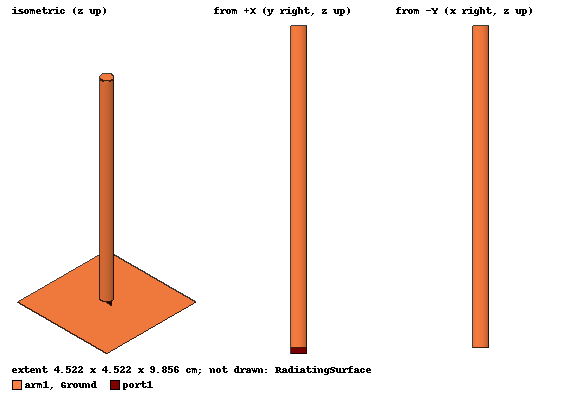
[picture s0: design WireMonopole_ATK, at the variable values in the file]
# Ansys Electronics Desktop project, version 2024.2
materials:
  vacuum: permittivity=1
  pec: conductivity=1e+30

design WireMonopole_ATK (HFSS, HFSS Hybrid Terminal Network, model units cm)
options: Allow_Material_Override Save_Adaptive_support_files open_region{BoundaryType=0 OpFreq=0.915GHz}
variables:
  # --Antenna Dimensions
  monopole_length = 9.8557888cm
  wire_rad = 0.251038368cm
  port_gap = 0.17739cm
  ground_width = 4.5216cm
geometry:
  arm1 [pec] = cylinder(axis=Z, base_centre=(0cm, 0cm, port_gap), radius=wire_rad, height=monopole_length-port_gap)
  Ground = rectangle(corner=(-ground_width/2, -ground_width/2, 0cm), x_size=ground_width, y_size=ground_width)
  port1 = rectangle(corner=(0cm, -wire_rad, 0cm), y_size=wire_rad*2, z_size=port_gap)
  RadiatingSurface [vacuum] = region(absolute_offset=10.928962cm on all sides)
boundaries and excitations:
  groundMetal: Perfect E Objects=Ground
  AutoOpen1: Radiation Objects=RadiatingSurface
  port1_T1: Terminal port=1 Edges=port1.edge(at (0, 0, 0.17739)) TerminalResistance=50ohm
  1: Lumped Port Faces=port1.face LumpedPortType=Terminal Impedance=50ohm
  reference conductors: Ground
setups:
  ATK_Solution: HfssDriven Frequency=0.915GHz MaxDeltaS=0.02 MaximumPasses=15 MinimumPasses=1 MinimumConvergedPasses=1 PercentRefinement=30 BasisOrder=1 PortAccuracy=2 DrivenSolverType="Direct Solver" VariablesForDerivatives(ground_width, monopole_length, port_gap, wire_rad) VariableFlagsForDerivatives(1, 1, 1, 1) IESolverType=ACA
    sweep FF_Sweep: 0.4575GHz to 1.3725GHz, 401 points; Type=Interpolating InterpTolerance=0.5 InterpMaxSolns=250 PassivityErrorTolerance=0.0001
    sweep SParam_Sweep: 0.4575GHz to 1.3725GHz, 100 points; Type=Interpolating InterpTolerance=0.5 InterpMaxSolns=250 PassivityErrorTolerance=0.0001
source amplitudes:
  1:1: 1V 0deg
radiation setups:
  3D: Infinite Sphere Theta=0deg..180deg step 2deg Phi=-180deg..180deg step 2deg
  Elevation: Infinite Sphere Theta=-180deg..180deg step 1deg Phi=0deg..90deg step 90deg
  Azimuth: Infinite Sphere Theta=90deg..90deg step 0deg Phi=-180deg..180deg step 1deg
  ATK_2D: Infinite Sphere Theta=-180deg..180deg step 1deg Phi=0deg..90deg step 90deg
  ATK_3D: Infinite Sphere Theta=-180deg..180deg step 2deg Phi=0deg..180deg step 5deg
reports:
  ff_3D_GainTotal: dB(GainTotal) vs Phi, Theta on ATK_Solution : LastAdaptive, ATK_3D [Freq=9.15e+08]
  ff_2D_GainTotal: dB(GainTotal) vs Theta on ATK_Solution : LastAdaptive, ATK_2D [Phi=all Freq=9.15e+08]
  Return Loss: dB(St11) vs Freq on ATK_Solution : SParam_Sweep; markers MX1 at x=9.15e+08
  Input Impedance: St11 on ATK_Solution : SParam_Sweep [Freq=all]
  Tune Terminal S Parameter Plot 1: dB(TuneSt(port1_T1,port1_T1,All)) vs Freq on ATK_Solution : FF_Sweep; markers MX1 at x=9.15e+08
